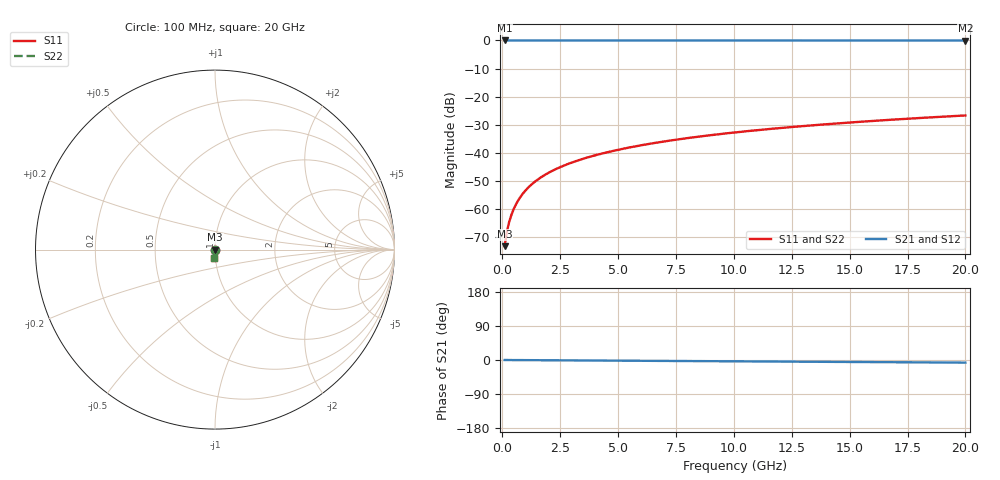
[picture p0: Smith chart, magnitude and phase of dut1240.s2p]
! Touchstone file exported from HFSS 2026.1.0
!  File:  C:/ffzhzh/LocalFiles/Ansys_Project_Files/temp_train_TSV_1240_1783193451_55132.aedt
!  Generated:  03:32:15 AM Jul  5, 2026
!  Design:  TSV
!  Project:  temp_train_TSV_1240_1783193451_55132
! Variables:
!  h_bsmrdl = 2um
!  h_ox = 20um
!  h_rdl = 5um
!  h_sub = 66.67um
!  h_tmrdl = 5um
!  h_tsv = 66.67um
!  h_via = 3um
!  l_bsmrdl = 300um
!  l_sub = 421.28um
!  l_tmrdl = 200um
!  m_sub = 200um
!  pitch = 30.48um
!  r_tsv = 10.64um
!  s_tmrdl = 10um
!  w_bsmrdl = 18um
!  w_sub = 500um
!  w_tmrdl = 12um
!  x_tsv_center1 = 206um
!  x_tsv_center2 = 524um
!  x_tsv_center3 = 736um
!  x_tsv_center4 = 1054um
!  x_tsv_center5 = 1266um
!  x_tsv_center6 = 1584um
# GHz S MA R 50.000000
! Terminal data exported
! Port[1] = TSV1_1_T1
! Port[2] = TSV1_1_T2
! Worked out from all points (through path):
!   200 points, 100 MHz to 20 GHz, reference 50 ohm
!   highest |S21| = 0.00 dB at 100 MHz (marker M1); lowest = 0.0 dB at 20 GHz (marker M2)
!   lowest |S11| = -73.3 dB at 100 MHz (marker M3), VSWR 1.00, Z = 50 - j0.0186 ohm
!   |S11| at or under -10 dB: start of sweep to end of sweep
!   |S22| runs from -73.3 to -26.7 dB; largest |S21 - S12| = 3.1e-15
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0.1  0.0002165 -59.4  0.9999 -0.0  0.9999 -0.0  0.0002165 -59.4
! Gamma 0 0 0 0
! Port Impedance 50 0 50 0
0.2  0.0003967 -71.8  0.9999 -0.1  0.9999 -0.1  0.0003967 -71.8
0.3  0.0005915 -75.9  0.9999 -0.1  0.9999 -0.1  0.0005915 -75.9
0.4  0.0007957 -77.8  0.9998 -0.1  0.9998 -0.1  0.0007957 -77.8
0.5  0.001007 -79.0  0.9998 -0.2  0.9998 -0.2  0.001007 -79.0
0.7  0.001445 -80.6  0.9998 -0.3  0.9998 -0.3  0.001445 -80.6
0.8  0.001669 -81.3  0.9997 -0.3  0.9997 -0.3  0.001669 -81.3
1  0.002121 -82.4  0.9997 -0.4  0.9997 -0.4  0.002121 -82.4
1.2  0.002576 -83.3  0.9997 -0.4  0.9997 -0.4  0.002576 -83.3
1.4  0.003032 -84.0  0.9997 -0.5  0.9997 -0.5  0.003032 -84.0
1.7  0.003716 -84.9  0.9996 -0.6  0.9996 -0.6  0.003716 -84.9
2  0.004399 -85.5  0.9996 -0.7  0.9996 -0.7  0.004399 -85.5
2.7  0.005995 -86.7  0.9995 -1.0  0.9995 -1.0  0.005995 -86.7
3.5  0.007824 -87.5  0.9995 -1.2  0.9995 -1.2  0.007824 -87.5
4.2  0.00943 -88.1  0.9994 -1.5  0.9994 -1.5  0.00943 -88.1
5  0.01127 -88.7  0.9993 -1.7  0.9993 -1.7  0.01127 -88.7
6.8  0.01544 -89.7  0.9992 -2.4  0.9992 -2.4  0.01544 -89.7
8.3  0.01892 -90.5  0.999 -2.9  0.999 -2.9  0.01892 -90.5
10.1  0.02311 -91.3  0.9989 -3.5  0.9989 -3.5  0.02311 -91.3
13.4  0.0308 -92.8  0.9985 -4.6  0.9985 -4.6  0.0308 -92.8
16.7  0.03848 -94.1  0.9981 -5.8  0.9981 -5.8  0.03848 -94.1
20  0.04617 -95.4  0.9977 -6.9  0.9977 -6.9  0.04617 -95.4
